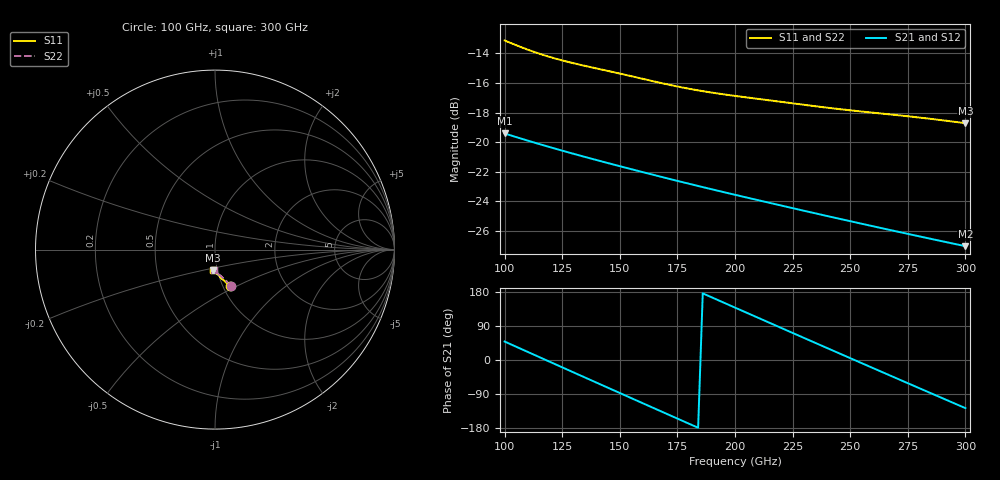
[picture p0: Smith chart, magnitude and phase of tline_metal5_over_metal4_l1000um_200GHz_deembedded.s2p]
! Created with skrf 2.2.0 (http://scikit-rf.org).
# GHz S DB R 50.0
! Port[1] = P1
! Port[2] = P2
!freq dBS11 angS11 dBS21 angS21 dBS12 angS12 dBS22 angS22
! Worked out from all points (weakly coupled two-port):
!   101 points, 100 GHz to 300 GHz, reference 50 ohm
!   highest |S21| = -19.41 dB at 100 GHz (marker M1); lowest = -27.0 dB at 300 GHz (marker M2)
!   lowest |S11| = -18.7 dB at 300 GHz (marker M3), VSWR 1.26, Z = 47.7 - j11.2 ohm
!   |S11| at or under -10 dB: start of sweep to end of sweep
!   |S22| runs from -18.7 to -13.2 dB; largest |S21 - S12| = 1e-13
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100  -13.14 -68.4  -19.41 48.7  -19.41 48.7  -13.15 -66.7
108  -13.64 -69.8  -19.80 26.9  -19.80 26.9  -13.66 -68.0
116  -14.08 -70.9  -20.17 5.1  -20.17 5.1  -14.10 -68.9
124  -14.44 -71.9  -20.53 -16.6  -20.53 -16.6  -14.46 -69.8
134  -14.82 -73.2  -20.96 -43.8  -20.96 -43.8  -14.84 -71.0
142  -15.10 -74.5  -21.30 -65.5  -21.30 -65.5  -15.11 -72.2
150  -15.37 -75.9  -21.62 -87.1  -21.62 -87.1  -15.38 -73.4
158  -15.66 -77.2  -21.95 -108.8  -21.95 -108.8  -15.66 -74.6
168  -16.01 -78.7  -22.34 -135.7  -22.34 -135.7  -16.00 -75.9
176  -16.27 -79.7  -22.65 -157.3  -22.65 -157.3  -16.24 -76.8
184  -16.51 -80.5  -22.96 -178.8  -22.96 -178.8  -16.45 -77.6
192  -16.70 -81.4  -23.26 159.7  -23.26 159.7  -16.63 -78.5
200  -16.88 -82.3  -23.55 138.3  -23.55 138.3  -16.79 -79.5
208  -17.04 -83.3  -23.85 116.9  -23.85 116.9  -16.94 -80.6
216  -17.20 -84.4  -24.13 95.5  -24.13 95.5  -17.10 -81.8
224  -17.36 -85.4  -24.42 74.1  -24.42 74.1  -17.27 -83.1
234  -17.56 -86.7  -24.78 47.5  -24.78 47.5  -17.49 -84.5
250  -17.85 -88.7  -25.34 4.9  -25.34 4.9  -17.83 -86.5
258  -17.98 -89.7  -25.61 -16.3  -25.61 -16.3  -17.98 -87.5
268  -18.14 -91.0  -25.96 -42.7  -25.96 -42.7  -18.16 -88.7
284  -18.41 -93.1  -26.49 -84.9  -26.49 -84.9  -18.43 -90.6
300  -18.72 -95.0  -27.02 -127.0  -27.02 -127.0  -18.70 -92.3
